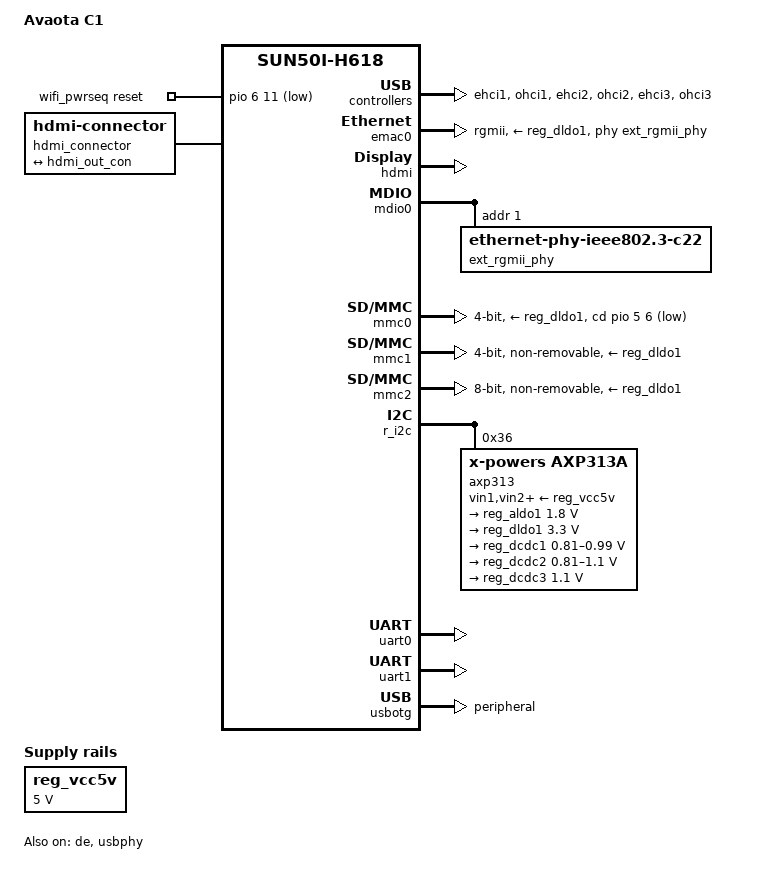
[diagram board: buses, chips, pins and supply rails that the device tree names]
// SPDX-License-Identifier: (GPL-2.0 OR MIT)
/*
 * Copyright (C) AvaotaSBC <avaotasbc@avaotasbc.local>
 */

/dts-v1/;

#include <dt-bindings/gpio/gpio.h>
#include <dt-bindings/interrupt-controller/arm-gic.h>
#include <dt-bindings/leds/common.h>
#include "sun50i-h616.dtsi"
#include "sun50i-h616-cpu-opp.dtsi"

/ {
	model = "Avaota C1";
	compatible = "avaotasbc,avaota-c1", "allwinner,sun50i-h618";

	aliases {
		ethernet0 = &emac0;
		serial0 = &uart0;
	};

	chosen {
		stdout-path = "serial0:115200n8";
	};

	reg_vcc5v: vcc5v {
		/* board wide 5V supply directly from the USB-C socket */
		compatible = "regulator-fixed";
		regulator-name = "vcc-5v";
		regulator-min-microvolt = <5000000>;
		regulator-max-microvolt = <5000000>;
		regulator-always-on;
	};

	wifi_pwrseq: wifi_pwrseq {
		compatible = "mmc-pwrseq-simple";
		reset-gpios = <&pio 6 11 GPIO_ACTIVE_LOW>; /* PG11 */
		post-power-on-delay-ms = <50>;
	};

	hdmi_connector: connector {
		compatible = "hdmi-connector";
		type = "a";

		port {
			hdmi_con_in: endpoint {
				remote-endpoint = <&hdmi_out_con>;
			};
		};
	};
};

&ehci1 {
	status = "okay";
};

&ohci1 {
	status = "okay";
};

&ehci2 {
	status = "okay";
};

&ohci2 {
	status = "okay";
};

&ehci3 {
	status = "okay";
};

&ohci3 {
	status = "okay";
};

&emac0 {
	pinctrl-names = "default";
	pinctrl-0 = <&ext_rgmii_pins>;
	phy-mode = "rgmii";
	phy-handle = <&ext_rgmii_phy>;
	allwinner,rx-delay-ps = <3100>;
	allwinner,tx-delay-ps = <700>;
	phy-supply = <&reg_dldo1>;
	status = "okay";
};

&hdmi {
	status = "okay";
};

&hdmi_out {
	hdmi_out_con: endpoint {
		remote-endpoint = <&hdmi_con_in>;
	};
};

&mdio0 {
	ext_rgmii_phy: ethernet-phy@1 {
		compatible = "ethernet-phy-ieee802.3-c22";
		reg = <1>;
	};
};

&mmc0 {
	vmmc-supply = <&reg_dldo1>;
	cd-gpios = <&pio 5 6 GPIO_ACTIVE_LOW>; /* PF6 */
	bus-width = <4>;
	status = "okay";
};

&mmc1 {
	vmmc-supply = <&reg_dldo1>;
	vqmmc-supply = <&reg_dldo1>;
	mmc-pwrseq = <&wifi_pwrseq>;
	bus-width = <4>;
	non-removable;
	status = "okay";
};

&mmc2 {
	vmmc-supply = <&reg_dldo1>;
	vqmmc-supply = <&reg_dldo1>;
	bus-width = <8>;
	cap-mmc-hw-reset;
	non-removable;
	status = "okay";
};

&cpu0 {
	cpu-supply = <&reg_dcdc2>;
};

&r_i2c {
	status = "okay";

	axp313: pmic@36 {
		compatible = "x-powers,axp313a";
		reg = <0x36>;
		interrupt-controller;
		#interrupt-cells = <1>;

		regulators {
			/* Supplies VCC-PLL, so needs to be always on. */
			reg_aldo1: aldo1 {
				regulator-always-on;
				regulator-min-microvolt = <1800000>;
				regulator-max-microvolt = <1800000>;
				regulator-name = "vcc1v8";
			};

			/* Supplies VCC-IO, so needs to be always on. */
			reg_dldo1: dldo1 {
				regulator-always-on;
				regulator-min-microvolt = <3300000>;
				regulator-max-microvolt = <3300000>;
				regulator-name = "vcc3v3";
			};

			reg_dcdc1: dcdc1 {
				regulator-always-on;
				regulator-min-microvolt = <810000>;
				regulator-max-microvolt = <990000>;
				regulator-name = "vdd-gpu-sys";
			};

			reg_dcdc2: dcdc2 {
				regulator-always-on;
				regulator-min-microvolt = <810000>;
				regulator-max-microvolt = <1100000>;
				regulator-name = "vdd-cpu";
			};

			reg_dcdc3: dcdc3 {
				regulator-always-on;
				regulator-min-microvolt = <1100000>;
				regulator-max-microvolt = <1100000>;
				regulator-name = "vdd-dram";
			};
		};
	};
};

&pio {
	vcc-pc-supply = <&reg_dldo1>;
	vcc-pf-supply = <&reg_dldo1>;
	vcc-pg-supply = <&reg_aldo1>;
	vcc-ph-supply = <&reg_dldo1>;
	vcc-pi-supply = <&reg_dldo1>;

	wifi_wake: wifi_wake {
		pins = "PG12";
		function = "gpio_in";
	};
};

&axp313 {
	vin1-supply = <&reg_vcc5v>;
	vin2-supply = <&reg_vcc5v>;
	vin3-supply = <&reg_vcc5v>;
};

&de {
	status = "okay";
};

&uart0 {
	pinctrl-names = "default";
	pinctrl-0 = <&uart0_ph_pins>;
	status = "okay";
};

&uart1 {
	uart-has-rtscts;
	pinctrl-0 = <&uart1_pins>, <&uart1_rts_cts_pins>;
	pinctrl-names = "default";
	status = "okay";
};

&usbotg {
	/*
	 * PHY0 pins are connected to a USB-C socket, but a role switch
	 * is not implemented: both CC pins are pulled to GND.
	 * The VBUS pins power the device, so a fixed peripheral mode
	 * is the best choice.
	 * The board can be powered via GPIOs, in this case port0 *can*
	 * act as a host (with a cable/adapter ignoring CC), as VBUS is
	 * then provided by the GPIOs. Any user of this setup would
	 * need to adjust the DT accordingly: dr_mode set to "host",
	 * enabling OHCI0 and EHCI0.
	 */
	dr_mode = "peripheral";
	status = "okay";
};

&usbphy {
	usb1_vbus-supply = <&reg_vcc5v>;
	status = "okay";
};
